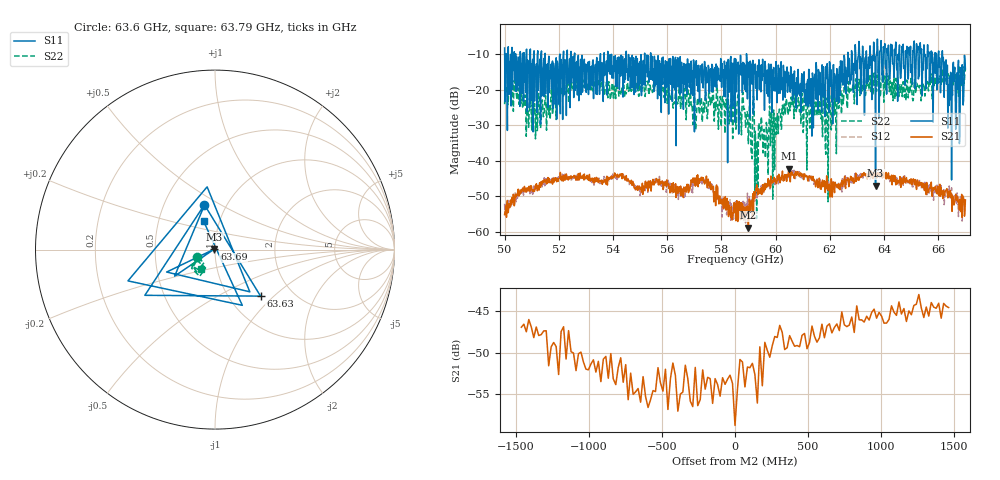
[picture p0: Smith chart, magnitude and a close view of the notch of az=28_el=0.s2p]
!Created with skrf (http://scikit-rf.org).
# GHz S RI R 50.0
!freq ReS11 ImS11 ReS21 ImS21 ReS12 ImS12 ReS22 ImS22
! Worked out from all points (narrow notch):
!   1001 points, 50 GHz to 67 GHz, reference 50 ohm
!   highest |S21| = -42.22 dB at 60.49 GHz (marker M1); lowest = -58.9 dB at 58.99 GHz (marker M2)
!   notch at M2: 12.7 dB deep, 244 MHz wide at half that depth
!   lowest |S11| = -47.0 dB at 63.69 GHz (marker M3), VSWR 1.01, Z = 49.7 + j0.281 ohm
!   |S11| at or under -10 dB: 52.58 GHz to 53.54 GHz (950.5 MHz wide, 1.79 % of centre); 55.39 GHz to 58.92 GHz (3.534 GHz wide, 6.18 % of centre); 58.93 GHz to 62.66 GHz (3.738 GHz wide, 6.15 % of centre)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
!   |S22| runs from -56.3 to -13.3 dB; largest |S21 - S12| = 0.0026
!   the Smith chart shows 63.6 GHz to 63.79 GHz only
!   S11 on the Smith chart (normalised r, x): 63.6 GHz: 0.79, +0.42; 63.63 GHz: 1.39, -0.83; 63.69 GHz: 0.99, +0.01; 63.79 GHz: 0.84, +0.27
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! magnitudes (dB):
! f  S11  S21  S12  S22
! 50 GHz  -8.3  -55.2  -52.2  -24.1
! 51.14 GHz  -13.7  -47.0  -47.9  -33.9
! 52.84 GHz  -12.3  -44.6  -44.2  -20.1
! 55.68 GHz  -13.3  -46.8  -46.7  -21.3
! 57.36 GHz  -15.2  -45.7  -45.4  -26.3
! 58.5 GHz  -29.2  -54.7  -51.7  -23.0
! 58.99 GHz  -16.4  -58.9  -56.6  -35.2
! 59.32 GHz  -22.9  -47.5  -50.4  -34.5
! 59.45 GHz  -20.6  -47.9  -49.2  -30.1
! 59.66 GHz  -14.9  -47.6  -47.4  -29.2
! 60.49 GHz  -18.8  -42.2  -43.9  -23.8
! 61.34 GHz  -33.1  -45.4  -45.6  -25.1
! 61.88 GHz  -16.9  -44.3  -46.8  -22.9
! 62.61 GHz  -16.2  -45.5  -46.7  -20.4
! 63.6 GHz  -11.8  -44.3  -44.1  -19.4
! 63.63 GHz  -8.8  -44.5  -43.5  -15.3
! 63.69 GHz  -47.0  -44.4  -44.0  -15.9
! 63.79 GHz  -15.5  -43.5  -43.4  -17.4
! 64.18 GHz  -12.2  -45.1  -44.6  -17.3
! 66.1 GHz  -13.6  -47.5  -47.0  -18.0
! 66.44 GHz  -22.8  -48.4  -49.7  -16.5
! 67 GHz  -14.2  -51.1  -52.8  -14.7
